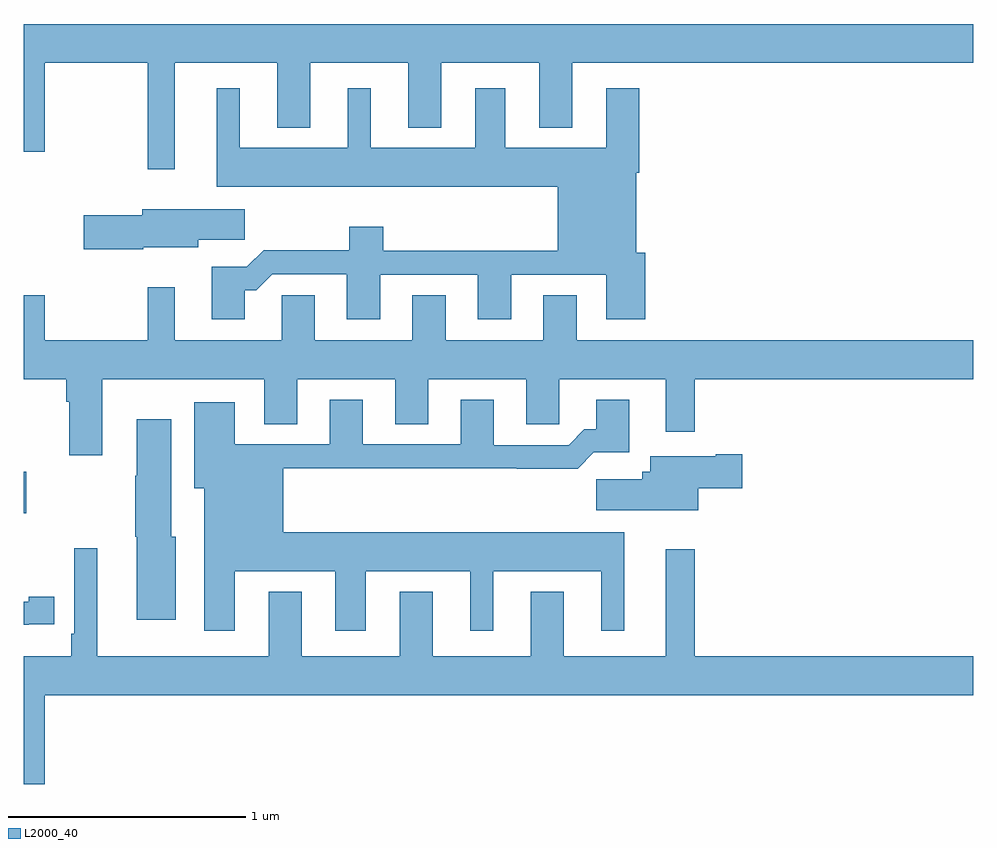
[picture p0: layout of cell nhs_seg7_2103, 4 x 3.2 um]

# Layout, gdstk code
import gdstk
lib = gdstk.Library(unit=1e-6, precision=1e-09)
def R(c, l, rs):  # rectangles x0, y0, x1, y1
    for r in rs: c.add(gdstk.rectangle(r[:2], r[2:], *l))
def P(c, l, *ps):  # polygons
    for p in ps: c.add(gdstk.Polygon(p, *l))
L2000_40 = (2000, 40)

nhs_seg7_2103 = lib.new_cell('nhs_seg7_2103')
R(nhs_seg7_2103, L2000_40, [(249,1053.331,249.01,1053.505)])
P(nhs_seg7_2103, L2000_40, [(249,1054.854),(249.088,1054.854),(249.088,1055.228),(249.523,1055.228),(249.523,1054.779),(249.637,1054.779),(249.637,1055.228),(250.067,1055.228),(250.067,1054.955),(250.207,1054.955),(250.207,1055.228),(250.619,1055.228),(250.619,1054.955),(250.759,1054.955),(250.759,1055.228),(251.171,1055.228),(251.171,1054.955),(251.311,1054.955),(251.311,1055.228),(253,1055.228),(253,1055.392),(249,1055.392)],
  [(249.931,1054.271),(249.98,1054.271),(250.047,1054.338),(250.361,1054.338),(250.361,1054.149),(250.501,1054.149),(250.501,1054.335),(250.913,1054.335),(250.913,1054.149),(251.053,1054.149),(251.053,1054.335),(251.453,1054.335),(251.453,1054.149),(251.618,1054.149),(251.618,1054.428),(251.581,1054.428),(251.581,1054.766),(251.594,1054.766),(251.594,1055.122),(251.453,1055.122),(251.453,1054.87),(251.029,1054.87),(251.029,1055.122),(250.901,1055.122),(250.901,1054.87),(250.462,1054.87),(250.462,1055.122),(250.364,1055.122),(250.364,1054.87),(249.91,1054.87),(249.91,1055.122),(249.812,1055.122),(249.812,1054.706),(251.249,1054.706),(251.249,1054.436),(250.514,1054.436),(250.514,1054.537),(250.372,1054.537),(250.372,1054.439),(250.01,1054.439),(249.94,1054.369),(249.791,1054.369),(249.791,1054.149),(249.931,1054.149)],
  [(249.504,1054.451),(249.736,1054.451),(249.736,1054.483),(249.931,1054.483),(249.931,1054.612),(249.5,1054.612),(249.5,1054.586),(249.252,1054.586),(249.252,1054.444),(249.504,1054.444)],
  [(251.117,1053.706),(251.256,1053.706),(251.256,1053.896),(251.705,1053.896),(251.705,1053.675),(251.827,1053.675),(251.827,1053.896),(253,1053.896),(253,1054.06),(251.329,1054.06),(251.329,1054.25),(251.189,1054.25),(251.189,1054.06),(250.777,1054.06),(250.777,1054.25),(250.637,1054.25),(250.637,1054.06),(250.225,1054.06),(250.225,1054.25),(250.086,1054.25),(250.086,1054.06),(249.637,1054.06),(249.637,1054.282),(249.523,1054.282),(249.523,1054.06),(249.088,1054.06),(249.088,1054.249),(249,1054.249),(249,1053.896),(249.179,1053.896),(249.179,1053.8),(249.191,1053.8),(249.191,1053.576),(249.331,1053.576),(249.331,1053.896),(250.013,1053.896),(250.013,1053.706),(250.153,1053.706),(250.153,1053.896),(250.565,1053.896),(250.565,1053.706),(250.705,1053.706),(250.705,1053.896),(251.117,1053.896)],
  [(249.889,1053.086),(250.313,1053.086),(250.313,1052.835),(250.441,1052.835),(250.441,1053.086),(250.88,1053.086),(250.88,1052.835),(250.978,1052.835),(250.978,1053.086),(251.432,1053.086),(251.432,1052.835),(251.53,1052.835),(251.53,1053.25),(250.093,1053.25),(250.093,1053.52),(251.077,1053.52),(251.077,1053.518),(251.333,1053.518),(251.402,1053.587),(251.551,1053.587),(251.551,1053.808),(251.411,1053.808),(251.411,1053.685),(251.362,1053.685),(251.295,1053.618),(250.981,1053.618),(250.981,1053.808),(250.841,1053.808),(250.841,1053.621),(250.429,1053.621),(250.429,1053.808),(250.289,1053.808),(250.289,1053.621),(249.889,1053.621),(249.889,1053.799),(249.719,1053.799),(249.719,1053.437),(249.761,1053.437),(249.761,1052.835),(249.889,1052.835)],
  [(249.64,1053.231),(249.622,1053.231),(249.622,1053.727),(249.476,1053.727),(249.476,1053.488),(249.469,1053.488),(249.469,1053.231),(249.476,1053.231),(249.476,1052.883),(249.64,1052.883)],
  [(251.842,1053.437),(252.028,1053.437),(252.028,1053.579),(251.915,1053.579),(251.915,1053.571),(251.639,1053.571),(251.639,1053.505),(251.606,1053.505),(251.606,1053.473),(251.412,1053.473),(251.412,1053.344),(251.842,1053.344)],
  [(249.088,1052.564),(253,1052.564),(253,1052.728),(251.827,1052.728),(251.827,1053.178),(251.705,1053.178),(251.705,1052.728),(251.275,1052.728),(251.275,1053.001),(251.135,1053.001),(251.135,1052.728),(250.723,1052.728),(250.723,1053.001),(250.583,1053.001),(250.583,1052.728),(250.171,1052.728),(250.171,1053.001),(250.031,1053.001),(250.031,1052.728),(249.31,1052.728),(249.31,1053.184),(249.213,1053.184),(249.213,1052.824),(249.2,1052.824),(249.2,1052.728),(249,1052.728),(249,1052.19),(249.088,1052.19)],
  [(249.02,1052.862),(249.128,1052.862),(249.128,1052.978),(249.02,1052.978),(249.02,1052.958),(249,1052.958),(249,1052.861),(249.02,1052.861)])

lib.write_gds('nhs_seg7_2103.gds')
